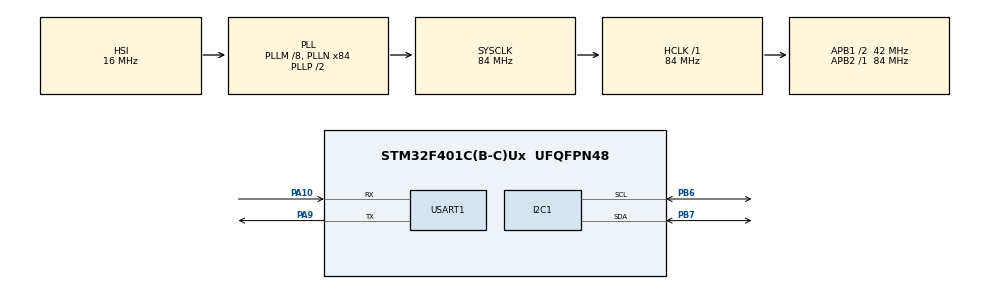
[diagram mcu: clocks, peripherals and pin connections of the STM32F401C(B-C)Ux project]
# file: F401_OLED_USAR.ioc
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Dma.Request0=USART1_RX
Dma.Request1=USART1_TX
Dma.USART1_RX.0.Direction=DMA_PERIPH_TO_MEMORY
Dma.USART1_RX.0.FIFOMode=DMA_FIFOMODE_DISABLE
Dma.USART1_RX.0.Instance=DMA2_Stream2
Dma.USART1_RX.0.MemDataAlignment=DMA_MDATAALIGN_BYTE
Dma.USART1_RX.0.MemInc=DMA_MINC_ENABLE
Dma.USART1_RX.0.Mode=DMA_NORMAL
Dma.USART1_RX.0.PeriphDataAlignment=DMA_PDATAALIGN_BYTE
Dma.USART1_RX.0.PeriphInc=DMA_PINC_DISABLE
Dma.USART1_RX.0.Priority=DMA_PRIORITY_LOW
Dma.USART1_TX.1.Direction=DMA_MEMORY_TO_PERIPH
Dma.USART1_TX.1.FIFOMode=DMA_FIFOMODE_DISABLE
Dma.USART1_TX.1.Instance=DMA2_Stream7
Dma.USART1_TX.1.MemDataAlignment=DMA_MDATAALIGN_BYTE
Dma.USART1_TX.1.MemInc=DMA_MINC_ENABLE
Dma.USART1_TX.1.Mode=DMA_NORMAL
Dma.USART1_TX.1.PeriphDataAlignment=DMA_PDATAALIGN_BYTE
Dma.USART1_TX.1.PeriphInc=DMA_PINC_DISABLE
Dma.USART1_TX.1.Priority=DMA_PRIORITY_LOW
Mcu.Family=STM32F4
Mcu.Name=STM32F401C(B-C)Ux
Mcu.Package=UFQFPN48
NVIC.DMA2_Stream2_IRQn=true\:0\:0\:false\:false\:true\:false\:true\:true
NVIC.DMA2_Stream7_IRQn=true\:0\:0\:false\:false\:true\:false\:true\:true
NVIC.PriorityGroup=NVIC_PRIORITYGROUP_4
NVIC.USART1_IRQn=true\:0\:0\:false\:false\:true\:true\:true\:true
PA10.Mode=Asynchronous
PA10.Signal=USART1_RX
PA13.Mode=Serial_Wire
PA13.Signal=SYS_JTMS-SWDIO
PA14.Mode=Serial_Wire
PA14.Signal=SYS_JTCK-SWCLK
PA9.Mode=Asynchronous
PA9.Signal=USART1_TX
PB6.Mode=I2C
PB6.Signal=I2C1_SCL
PB7.Mode=I2C
PB7.Signal=I2C1_SDA
PC14-OSC32_IN.Mode=LSE-External-Oscillator
PC14-OSC32_IN.Signal=RCC_OSC32_IN
PC15-OSC32_OUT.Mode=LSE-External-Oscillator
PC15-OSC32_OUT.Signal=RCC_OSC32_OUT
PH0\ -\ OSC_IN.Mode=HSE-External-Oscillator
PH0\ -\ OSC_IN.Signal=RCC_OSC_IN
PH1\ -\ OSC_OUT.Mode=HSE-External-Oscillator
PH1\ -\ OSC_OUT.Signal=RCC_OSC_OUT
ProjectManager.HeapSize=0x200
ProjectManager.StackSize=0x400
ProjectManager.TargetToolchain=MDK-ARM V5.32
RCC.48MHZClocksFreq_Value=42000000
RCC.AHBFreq_Value=84000000
RCC.APB1CLKDivider=RCC_HCLK_DIV2
RCC.APB1Freq_Value=42000000
RCC.APB1TimFreq_Value=84000000
RCC.APB2Freq_Value=84000000
RCC.APB2TimFreq_Value=84000000
RCC.CortexFreq_Value=84000000
RCC.HCLKFreq_Value=84000000
RCC.HSE_VALUE=25000000
RCC.HSI_VALUE=16000000
RCC.PLLM=8
RCC.PLLN=84
RCC.SYSCLKFreq_VALUE=84000000
RCC.SYSCLKSource=RCC_SYSCLKSOURCE_PLLCLK
RCC.VCOOutputFreq_Value=168000000
USART1.VirtualMode=VM_ASYNC
board=custom

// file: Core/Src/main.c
/* USER CODE BEGIN Header */
/**
  ******************************************************************************
  * @file           : main.c
  * @brief          : Main program body
  ******************************************************************************
  * @attention
  *
  * Copyright (c) 2025 STMicroelectronics.
  * All rights reserved.
  *
  * This software is licensed under terms that can be found in the LICENSE file
  * in the root directory of this software component.
  * If no LICENSE file comes with this software, it is provided AS-IS.
  *
  ******************************************************************************
  */

  /*
  * 仅用于测试f401的oled显示与串口收发
  * 补充中断触发：串口操作不再堵塞，信息接收刷新率可以上到340ms每次
  * DMA配置，实现不定长数据收发
  */
/* USER CODE END Header */
#include "main.h"
#include "dma.h"
#include "i2c.h"
#include "usart.h"
#include "gpio.h"

/* USER CODE BEGIN Includes */
#include "oled.h"
#include "user_usart.h"
/* USER CODE END Includes */

/* USER CODE BEGIN PV */
//uint8_t ReceiveData[USART_REC_LEN];//
uint8_t TransmitData[10] = "Hello!";
/* USER CODE END PV */

void SystemClock_Config(void);

int main(void)
{

  /* MCU Configuration--------------------------------------------------------*/

  /* Reset of all peripherals, Initializes the Flash interface and the Systick. */
  HAL_Init();

  /* Configure the system clock */
  SystemClock_Config();

  /* Initialize all configured peripherals */
  MX_GPIO_Init();
  MX_DMA_Init();
  MX_I2C1_Init();
  MX_USART1_UART_Init();
  /* USER CODE BEGIN 2 */
  OLED_Init(&hi2c1);
  HAL_Delay(50);
  /* USER CODE END 2 */

  /* Infinite loop */
  /* USER CODE BEGIN WHILE */
  OLED_ShowString(1,1,"Hello",16,0);
//  HAL_UARTEx_ReceiveToIdle_DMA(&huart1, ReceiveData, sizeof(ReceiveData));
  User_USART_Start_DMA_Receive(&huart1);
  printf("\r\n--- HAL USART Example ---\r\n");
  printf("Version: V2.1 \r\n");
  printf("Data received will be sent back.\r\n");
  printf("Waiting...\r\n\r\n");
  OLED_ShowString(1,3,"Printf is OK",16,0);
  OLED_ShowString(1,3,"Chinese:中文",16,0);
  User_USART_Transmit_DMA(&huart1, TransmitData, sizeof(TransmitData));
  OLED_ShowString(1,5,"Transmit_DMA",16,0);
  while (1)
  {
    /* USER CODE END WHILE */
    OLED_ShowString(1,7,"While...",16,0);
  }
}

void SystemClock_Config(void)
{
  RCC_OscInitTypeDef RCC_OscInitStruct = {0};
  RCC_ClkInitTypeDef RCC_ClkInitStruct = {0};

  /** Configure the main internal regulator output voltage
  */
  __HAL_RCC_PWR_CLK_ENABLE();
  __HAL_PWR_VOLTAGESCALING_CONFIG(PWR_REGULATOR_VOLTAGE_SCALE2);

  /** Initializes the RCC Oscillators according to the specified parameters
  * in the RCC_OscInitTypeDef structure.
  */
  RCC_OscInitStruct.OscillatorType = RCC_OSCILLATORTYPE_HSI;
  RCC_OscInitStruct.HSIState = RCC_HSI_ON;
  RCC_OscInitStruct.HSICalibrationValue = RCC_HSICALIBRATION_DEFAULT;
  RCC_OscInitStruct.PLL.PLLState = RCC_PLL_ON;
  RCC_OscInitStruct.PLL.PLLSource = RCC_PLLSOURCE_HSI;
  RCC_OscInitStruct.PLL.PLLM = 8;
  RCC_OscInitStruct.PLL.PLLN = 84;
  RCC_OscInitStruct.PLL.PLLP = RCC_PLLP_DIV2;
  RCC_OscInitStruct.PLL.PLLQ = 4;
  if (HAL_RCC_OscConfig(&RCC_OscInitStruct) != HAL_OK)
  {
    Error_Handler();
  }

  /** Initializes the CPU, AHB and APB buses clocks
  */
  RCC_ClkInitStruct.ClockType = RCC_CLOCKTYPE_HCLK|RCC_CLOCKTYPE_SYSCLK
                              |RCC_CLOCKTYPE_PCLK1|RCC_CLOCKTYPE_PCLK2;
  RCC_ClkInitStruct.SYSCLKSource = RCC_SYSCLKSOURCE_PLLCLK;
  RCC_ClkInitStruct.AHBCLKDivider = RCC_SYSCLK_DIV1;
  RCC_ClkInitStruct.APB1CLKDivider = RCC_HCLK_DIV2;
  RCC_ClkInitStruct.APB2CLKDivider = RCC_HCLK_DIV1;

  if (HAL_RCC_ClockConfig(&RCC_ClkInitStruct, FLASH_LATENCY_2) != HAL_OK)
  {
    Error_Handler();
  }
}

void Error_Handler(void)
{
  __disable_irq();
  while (1)
  {
  }
}
